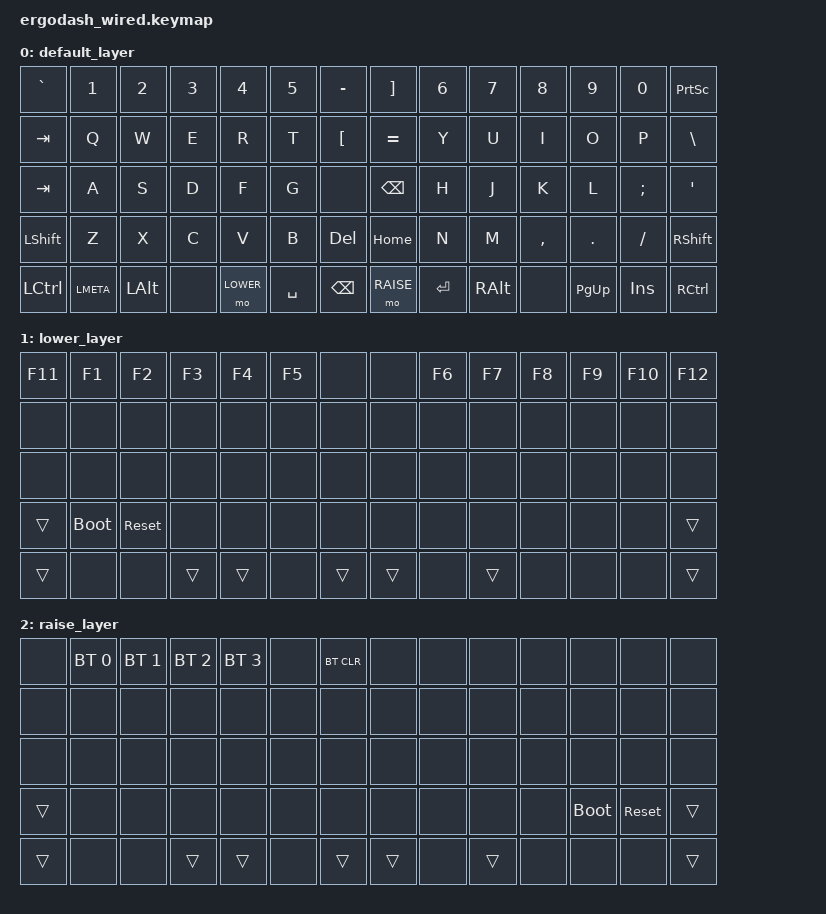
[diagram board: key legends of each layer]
/*
 * Copyright (c) 2020 The ZMK Contributors
 *
 * SPDX-License-Identifier: MIT
 */

#include <behaviors.dtsi>
#include <dt-bindings/zmk/keys.h>
#include <dt-bindings/zmk/bt.h>

&pro_micro_serial {
    status = "okay";
};

#define DEFAULT 0
#define LOWER   1
#define RAISE   2


/ {

        wired_split {
            compatible = "zmk,wired-split";
            device = <&pro_micro_serial>;
        };

        keymap {
                compatible = "zmk,keymap";

                default_layer {
/* QWERTY
 * .----------------------------------------------------------------------------------------------------------------------.
 * |  `   |   1  |   2  |   3  |   4  |   5  |  [   |                    |  ]   |   6  |   7  |   8  |   9  |   0  | PScr |
 * |------+------+------+------+------+------+------+--------------------+------+------+------+------+------+------+------|
 * | ESC  |   Q  |   W  |   E  |   R  |   T  |  -   |                    |  =   |   Y  |   U  |   I  |   O  |   P  |  \   |
 * |------+------+------+------+------+------+------+--------------------+------+------+------+------+------+------+------|
 * | Tab  |   A  |   S  |   D  |   F  |   G  | Del  |                    | Bksp |   H  |   J  |   K  |   L  |   ;  |  '   |
 * |------+------+------+------+------+------+---------------------------+------+------+------+------+------+------+------|
 * | Shift|   Z  |   X  |   C  |   V  |   B  | End  |                    | Home |   N  |   M  |   ,  |   .  |   /  | Shift|
 * |-------------+------+------+------+------+------+------+------+------+------+------+------+------+------+-------------|
 * | Ctrl |      | PGDN | Win  |||||||| Alt  | Space| Lower|||||||| Raise| Enter| RAlt ||||||||      | PGUP | Ins  | RCtrl|
 * .----------------------------------------------------------------------------------------------------------------------.
 */
                        bindings = <
&kp  GRAVE    &kp  N1       &kp  N2       &kp  N3       &kp  N4       &kp  N5       &kp  MINUS             &kp  RBKT     &kp  N6       &kp  N7       &kp  N8       &kp  N9       &kp  N0       &kp  PSCRN
&kp  TAB      &kp  Q        &kp  W        &kp  E        &kp  R        &kp  T        &kp  LBKT              &kp  EQUAL    &kp  Y        &kp  U        &kp  I        &kp  O        &kp  P        &kp  BSLH
&kp  TAB      &kp  A        &kp  S        &kp  D        &kp  F        &kp  G        &none                  &kp  BSPC     &kp  H        &kp  J        &kp  K        &kp  L        &kp  SEMI     &kp  SQT
&kp  LSHFT    &kp  Z        &kp  X        &kp  C        &kp  V        &kp  B        &kp  DEL               &kp  HOME     &kp  N        &kp  M        &kp  COMMA    &kp  DOT      &kp  SLASH    &kp  RSHFT
&kp  LCTRL    &kp  LMETA    &kp  LALT     &none         &mo  LOWER    &kp  SPACE    &kp  BSPC              &mo  RAISE    &kp  RET      &kp  RALT     &none         &kp  PG_UP    &kp  INS      &kp  RCTRL
                        >;
                };
                lower_layer {
/* .----------------------------------------------------------------------------------------------------------------------.
 * |  F11 |  F1  |  F2  |  F3  |  F4  |  F5  |      |                    |      |  F6  |  F7  |  F8  |  F9  |  F10 |  F12 |
 * |------+------+------+------+------+------+------+--------------------+------+------+------+------+------+------+------|
 * |      |      |      |      |      |      |      |                    |      |      |      |      |      |      |      |
 * |------+------+------+------+------+------+------+--------------------+------+------+------+------+------+------+------|
 * |      |      |      |      |      |      |      |                    |      |      |      |      |      |      |      |
 * |------+------+------+------+------+------+---------------------------+------+------+------+------+------+------+------|
 * | Shift| Boot | Reset|      |      |      |      |                    |      |      |      |      |      |      | Shift|
 * |-------------+------+------+------+------+------+------+------+------+------+------+------+------+------+-------------|
 * | Ctlr |      |      |  Win |||||||| Alt  |      | Lower|||||||| Raise|      | RAlt ||||||||      |      |      | RCtrl|
 * .----------------------------------------------------------------------------------------------------------------------.
 */ /* FIXME boot and reset are not yet locale aware */
                        bindings = <
&kp  F11      &kp  F1       &kp  F2       &kp  F3       &kp  F4       &kp  F5       &none                  &none         &kp  F6       &kp  F7       &kp  F8       &kp  F9       &kp  F10      &kp  F12
&none         &none         &none         &none         &none         &none         &none                  &none         &none         &none         &none         &none         &none         &none
&none         &none         &none         &none         &none         &none         &none                  &none         &none         &none         &none         &none         &none         &none
&trans        &bootloader   &sys_reset        &none         &none         &none         &none                  &none         &none         &none         &none         &none         &none         &trans
&trans        &none         &none         &trans        &trans        &none         &trans                 &trans        &none         &trans        &none         &none         &none         &trans
                        >;
                };
                raise_layer {
/* .----------------------------------------------------------------------------------------------------------------------.
 * |      | BT 0 | BT 1 | BT 2 | BT 3 |      | BTCL |                    |      |      |      |      |      |      |      |
 * |------+------+------+------+------+------+------+--------------------+------+------+------+------+------+------+------|
 * |      |      |      |      |      |      |      |                    |      |      |      |      |      |      |      |
 * |------+------+------+------+------+------+------+--------------------+------+------+------+------+------+------+------|
 * |      |      |      |      |      |      |      |                    |      |      |      |      |      |      |      |
 * |------+------+------+------+------+------+---------------------------+------+------+------+------+------+------+------|
 * | Shift|      |      |      |      |      |      |                    |      |      |      |      | Boot | Reset| Shift|
 * |-------------+------+------+------+------+------+------+------+------+------+------+------+------+------+-------------|
 * | Ctlr |      |      |  Win |||||||| Alt  |      | Lower|||||||| Raise|      | RAlt ||||||||      |      |      | RCtrl|
 * .----------------------------------------------------------------------------------------------------------------------.
 */ /* FIXME boot and reset are not yet locale aware */
                        bindings = <
&none         &bt BT_SEL 0  &bt BT_SEL 1  &bt BT_SEL 2  &bt BT_SEL 3  &none         &bt BT_CLR             &none         &none         &none         &none         &none         &none         &none
&none         &none         &none         &none         &none         &none         &none                  &none         &none         &none         &none         &none         &none         &none
&none         &none         &none         &none         &none         &none         &none                  &none         &none         &none         &none         &none         &none         &none
&trans        &none         &none         &none         &none         &none         &none                  &none         &none         &none         &none         &bootloader   &sys_reset        &trans
&trans        &none         &none         &trans        &trans        &none         &trans                 &trans        &none         &trans        &none         &none         &none         &trans
                        >;
                };
        };
};

